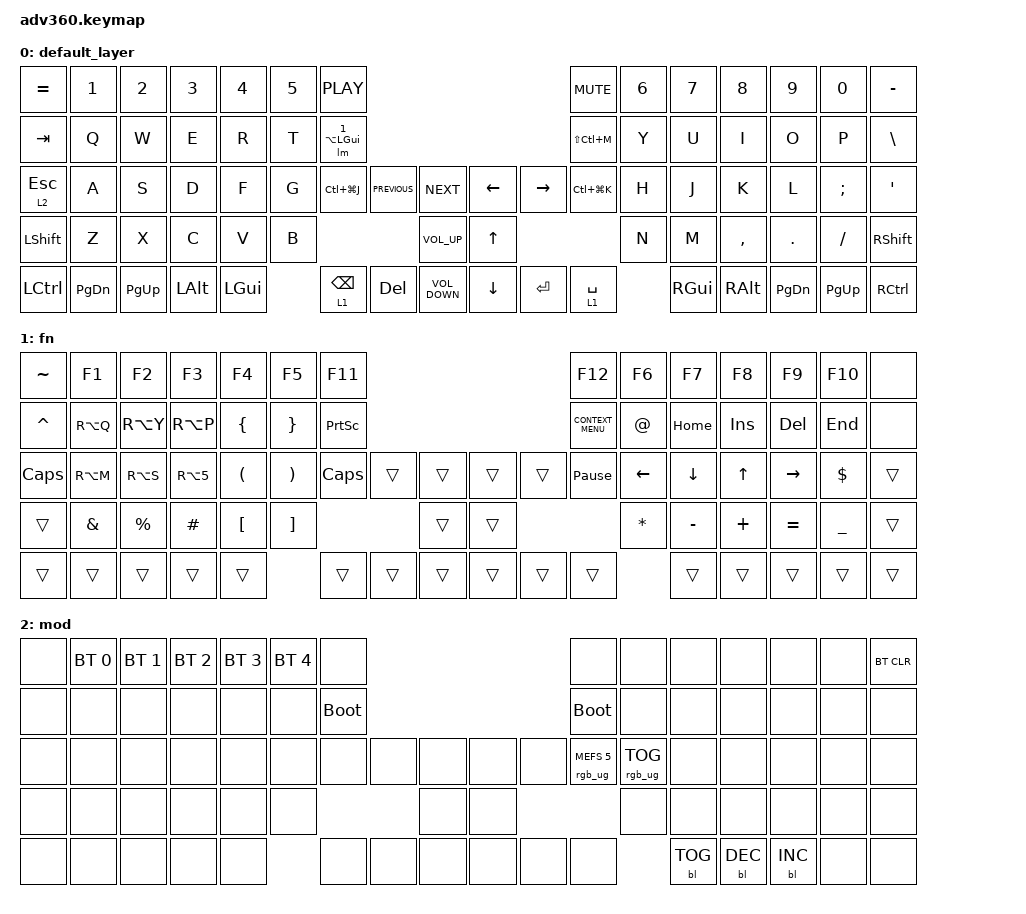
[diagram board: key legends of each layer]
#include <behaviors.dtsi>
#include <dt-bindings/zmk/backlight.h>
#include <dt-bindings/zmk/bt.h>
#include <dt-bindings/zmk/keys.h>
#include <dt-bindings/zmk/rgb.h>

/ {
    behaviors {
        #include "macros.dtsi"
      #include "version.dtsi"
      #ifndef VERSION_MACRO

        macro_ver: macro_ver {
            compatible = "zmk,behavior-macro";
            label = "macro_version";
            #binding-cells = <0>;
            bindings = <&kp RET>;
        };

        #endif

        lm: lm {
            compatible = "zmk,behavior-macro-two-param";
            wait-ms = <0>;
            tap-ms = <0>;
            #binding-cells = <2>;
            bindings =
                <&macro_param_1to1>,
                <&macro_press>,
                <&mo MACRO_PLACEHOLDER &macro_param_2to1>,
                <&macro_press>,
                <&kp MACRO_PLACEHOLDER>,
                <&macro_pause_for_release>,
                <&macro_param_2to1>,
                <&macro_release>,
                <&kp MACRO_PLACEHOLDER &macro_param_1to1>,
                <&macro_release>,
                <&mo MACRO_PLACEHOLDER>;
        };

        hm: homerow_mods {
            compatible = "zmk,behavior-hold-tap";
            label = "HOMEROW_MODS";
            #binding-cells = <2>;
            tapping-term-ms = <200>;
            quick_tap_ms = <175>;
            flavor = "tap-preferred";
            bindings = <&kp>, <&kp>;
        };

        ltr: ltr {
            compatible = "zmk,behavior-hold-tap";
            label = "LTR";
            bindings = <&mo>, <&kp>;

            #binding-cells = <2>;
            tapping-term-ms = <350>;
            flavor = "tap-unless-interrupted";
        };
    };

    macros {
    };

    keymap {
        compatible = "zmk,keymap";

        default_layer {
            bindings = <
&kp EQUAL         &kp N1         &kp N2     &kp N3        &kp N4        &kp N5  &kp C_PLAY                                                                          &kp C_MUTE     &kp N6  &kp N7         &kp N8         &kp N9     &kp N0     &kp MINUS
&kp TAB           &kp Q          &kp W      &kp E         &kp R         &kp T   &lm 1 LA(LEFT_GUI)                                                                  &kp LS(LC(M))  &kp Y   &kp U          &kp I          &kp O      &kp P      &kp BSLH
&lt 2 ESC         &kp A          &kp S      &kp D         &kp F         &kp G   &kp LC(LG(J))       &kp C_PREVIOUS  &kp C_NEXT             &kp LEFT      &kp RIGHT  &kp LC(LG(K))  &kp H   &kp J          &kp K          &kp L      &kp SEMI   &kp SQT
&kp LSHFT         &kp Z          &kp X      &kp C         &kp V         &kp B                                       &kp C_VOLUME_UP        &kp UP_ARROW                            &kp N   &kp M          &kp COMMA      &kp DOT    &kp FSLH   &kp RSHFT
&kp LEFT_CONTROL  &kp PAGE_DOWN  &kp PG_UP  &kp LEFT_ALT  &kp LEFT_GUI          &ltr 1 BACKSPACE    &kp DELETE      &kp C_VOLUME_DOWN      &kp DOWN      &kp ENTER  &ltr 1 SPACE           &kp RIGHT_GUI  &kp RIGHT_ALT  &kp PG_DN  &kp PG_UP  &kp RIGHT_CONTROL
            >;
        };

        fn {
            bindings = <
&kp TILDE     &kp F1         &kp F2       &kp F3      &kp F4                &kp F5                 &kp F11                                              &kp F12             &kp F6        &kp F7     &kp F8        &kp F9      &kp F10         &none
&kp CARET     &kp RA(Q)      &kp RA(Y)    &kp RA(P)   &kp LEFT_BRACE        &kp RIGHT_BRACE        &kp PRINTSCREEN                                      &kp K_CONTEXT_MENU  &kp AT_SIGN   &kp HOME   &kp INSERT    &kp DELETE  &kp END         &none
&kp CAPSLOCK  &kp RA(M)      &kp RA(S)    &kp RA(N5)  &kp LEFT_PARENTHESIS  &kp RIGHT_PARENTHESIS  &kp CAPSLOCK     &trans  &trans      &trans  &trans  &kp PAUSE_BREAK     &kp LEFT      &kp DOWN   &kp UP_ARROW  &kp RIGHT   &kp DOLLAR      &trans
&trans        &kp AMPERSAND  &kp PERCENT  &kp HASH    &kp LEFT_BRACKET      &kp RIGHT_BRACKET                               &trans      &trans                              &kp ASTERISK  &kp MINUS  &kp PLUS      &kp EQUAL   &kp UNDERSCORE  &trans
&trans        &trans         &trans       &trans      &trans                                       &trans           &trans  &trans      &trans  &trans  &trans                            &trans     &trans        &trans      &trans          &trans
            >;
        };

        mod {
            bindings = <
&none  &bt BT_SEL 0  &bt BT_SEL 1  &bt BT_SEL 2  &bt BT_SEL 3  &bt BT_SEL 4  &none                                        &none                   &none            &none       &none       &none       &none  &bt BT_CLR
&none  &none         &none         &none         &none         &none         &bootloader                                  &bootloader             &none            &none       &none       &none       &none  &none
&none  &none         &none         &none         &none         &none         &none        &none  &none      &none  &none  &rgb_ug RGB_MEFS_CMD 5  &rgb_ug RGB_TOG  &none       &none       &none       &none  &none
&none  &none         &none         &none         &none         &none                             &none      &none                                 &none            &none       &none       &none       &none  &none
&none  &none         &none         &none         &none                       &none        &none  &none      &none  &none  &none                                    &bl BL_TOG  &bl BL_DEC  &bl BL_INC  &none  &none
            >;
        };
    };
};
